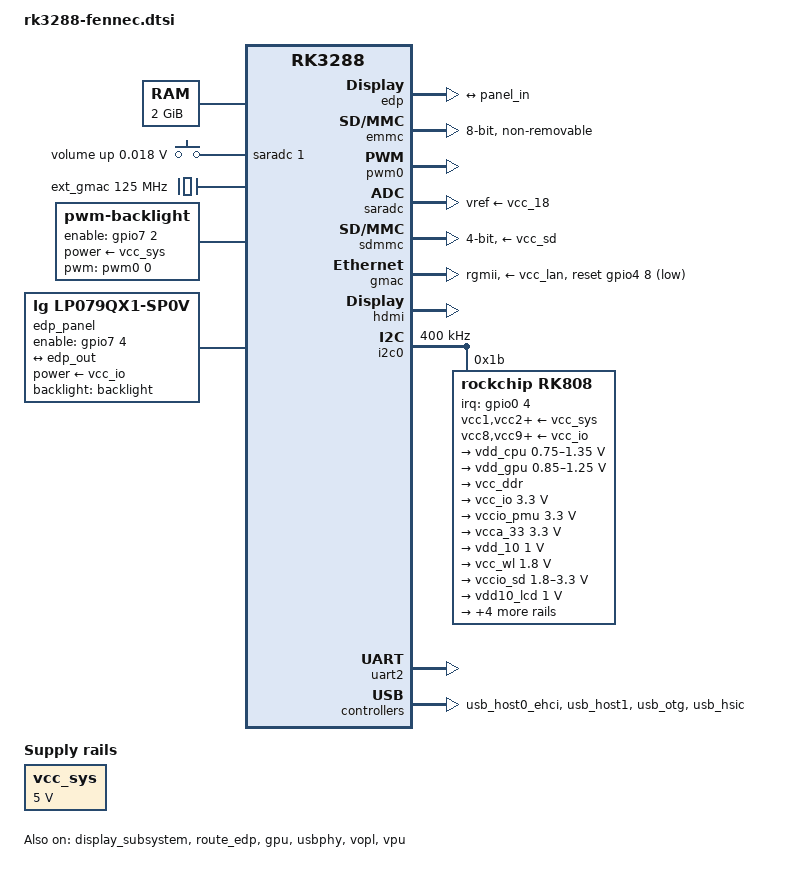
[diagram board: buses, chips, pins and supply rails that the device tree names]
/*
 * This file is dual-licensed: you can use it either under the terms
 * of the GPL or the X11 license, at your option. Note that this dual
 * licensing only applies to this file, and not this project as a
 * whole.
 *
 *  a) This file is free software; you can redistribute it and/or
 *     modify it under the terms of the GNU General Public License as
 *     published by the Free Software Foundation; either version 2 of the
 *     License, or (at your option) any later version.
 *
 *     This file is distributed in the hope that it will be useful,
 *     but WITHOUT ANY WARRANTY; without even the implied warranty of
 *     MERCHANTABILITY or FITNESS FOR A PARTICULAR PURPOSE.  See the
 *     GNU General Public License for more details.
 *
 * Or, alternatively,
 *
 *  b) Permission is hereby granted, free of charge, to any person
 *     obtaining a copy of this software and associated documentation
 *     files (the "Software"), to deal in the Software without
 *     restriction, including without limitation the rights to use,
 *     copy, modify, merge, publish, distribute, sublicense, and/or
 *     sell copies of the Software, and to permit persons to whom the
 *     Software is furnished to do so, subject to the following
 *     conditions:
 *
 *     The above copyright notice and this permission notice shall be
 *     included in all copies or substantial portions of the Software.
 *
 *     THE SOFTWARE IS PROVIDED "AS IS", WITHOUT WARRANTY OF ANY KIND,
 *     EXPRESS OR IMPLIED, INCLUDING BUT NOT LIMITED TO THE WARRANTIES
 *     OF MERCHANTABILITY, FITNESS FOR A PARTICULAR PURPOSE AND
 *     NONINFRINGEMENT. IN NO EVENT SHALL THE AUTHORS OR COPYRIGHT
 *     HOLDERS BE LIABLE FOR ANY CLAIM, DAMAGES OR OTHER LIABILITY,
 *     WHETHER IN AN ACTION OF CONTRACT, TORT OR OTHERWISE, ARISING
 *     FROM, OUT OF OR IN CONNECTION WITH THE SOFTWARE OR THE USE OR
 *     OTHER DEALINGS IN THE SOFTWARE.
 */

#include "rk3288.dtsi"
#include "rk3288-u-boot.dtsi"
#include <dt-bindings/input/input.h>

/ {
	memory {
		reg = <0x0 0x80000000>;
		device_type = "memory";
	};

	adc-keys {
		compatible = "adc-keys";
		io-channels = <&saradc 1>;

		volup-key {
			linux,code = <KEY_VOLUMEUP>;
			label = "volume up";
			press-threshold-microvolt = <18000>;
		};
	};

	ext_gmac: external-gmac-clock {
		compatible = "fixed-clock";
		#clock-cells = <0>;
		clock-frequency = <125000000>;
		clock-output-names = "ext_gmac";
	};

	vcc_sys: vsys-regulator {
		compatible = "regulator-fixed";
		regulator-name = "vcc_sys";
		regulator-min-microvolt = <5000000>;
		regulator-max-microvolt = <5000000>;
		regulator-always-on;
		regulator-boot-on;
	};

	backlight: backlight {
		compatible = "pwm-backlight";
		power-supply = <&vcc_sys>;
		enable-gpios = <&gpio7 2 GPIO_ACTIVE_HIGH>;
		brightness-levels = <
			  0   1   2   3   4   5   6   7
			  8   9  10  11  12  13  14  15
			 16  17  18  19  20  21  22  23
			 24  25  26  27  28  29  30  31
			 32  33  34  35  36  37  38  39
			 40  41  42  43  44  45  46  47
			 48  49  50  51  52  53  54  55
			 56  57  58  59  60  61  62  63
			 64  65  66  67  68  69  70  71
			 72  73  74  75  76  77  78  79
			 80  81  82  83  84  85  86  87
			 88  89  90  91  92  93  94  95
			 96  97  98  99 100 101 102 103
			104 105 106 107 108 109 110 111
			112 113 114 115 116 117 118 119
			120 121 122 123 124 125 126 127
			128 129 130 131 132 133 134 135
			136 137 138 139 140 141 142 143
			144 145 146 147 148 149 150 151
			152 153 154 155 156 157 158 159
			160 161 162 163 164 165 166 167
			168 169 170 171 172 173 174 175
			176 177 178 179 180 181 182 183
			184 185 186 187 188 189 190 191
			192 193 194 195 196 197 198 199
			200 201 202 203 204 205 206 207
			208 209 210 211 212 213 214 215
			216 217 218 219 220 221 222 223
			224 225 226 227 228 229 230 231
			232 233 234 235 236 237 238 239
			240 241 242 243 244 245 246 247
			248 249 250 251 252 253 254 255>;
		default-brightness-level = <50>;
		pwms = <&pwm0 0 25000 0>;
		pinctrl-names = "default";
		pinctrl-0 = <&pwm0_pin>;
		pwm-delay-us = <10000>;
		status = "okay";
	};

	edp_panel: edp-panel {
		compatible ="lg,lp079qx1-sp0v", "simple-panel";
		backlight = <&backlight>;
		power-supply = <&vcc_io>;
		enable-gpios = <&gpio7 4 GPIO_ACTIVE_HIGH>;
		prepare-delay-ms = <20>;
		enable-delay-ms = <20>;

		ports {
			panel_in: endpoint {
				remote-endpoint = <&edp_out>;
			};
		};
	};
};

&cpu0 {
	cpu0-supply = <&vdd_cpu>;
};

&display_subsystem {
	status = "okay";
};

&edp {
	status = "okay";

	ports {
		port@1 {
			reg = <1>;
			edp_out: endpoint {
				remote-endpoint = <&panel_in>;
			};
		};
	};
};

&emmc {
	bus-width = <8>;
	cap-mmc-highspeed;
	disable-wp;
	non-removable;
	num-slots = <1>;
	pinctrl-names = "default";
	pinctrl-0 = <&emmc_clk &emmc_cmd &emmc_pwr &emmc_bus8>;
	status = "okay";
};

&pwm0 {
	status = "okay";
};

&route_edp {
	status = "okay";
};

&saradc {
	vref-supply = <&vcc_18>;
	status = "okay";
};

&sdmmc {
	bus-width = <4>;
	cap-mmc-highspeed;
	cap-sd-highspeed;
	card-detect-delay = <200>;
	disable-wp;
	num-slots = <1>;
	pinctrl-names = "default";
	pinctrl-0 = <&sdmmc_clk &sdmmc_cmd &sdmmc_cd &sdmmc_bus4>;
	status = "okay";
	vmmc-supply = <&vcc_sd>;
	vqmmc-supply = <&vccio_sd>;
};

&gmac {
	assigned-clocks = <&cru SCLK_MAC>;
	assigned-clock-parents = <&ext_gmac>;
	clock_in_out = "input";
	pinctrl-names = "default";
	pinctrl-0 = <&rgmii_pins>, <&phy_rst>, <&phy_pmeb>, <&phy_int>;
	phy-supply = <&vcc_lan>;
	phy-mode = "rgmii";
	snps,reset-active-low;
	snps,reset-delays-us = <0 10000 1000000>;
	snps,reset-gpio = <&gpio4 8 GPIO_ACTIVE_LOW>;
	tx_delay = <0x30>;
	rx_delay = <0x10>;
	status = "okay";
};

&gpu {
	mali-supply = <&vdd_gpu>;
	status = "okay";
};

&hdmi {
	status = "okay";
};

&i2c0 {
	status = "okay";
	clock-frequency = <400000>;

	rk808: pmic@1b {
		compatible = "rockchip,rk808";
		reg = <0x1b>;
		interrupt-parent = <&gpio0>;
		interrupts = <4 IRQ_TYPE_LEVEL_LOW>;
		#clock-cells = <1>;
		clock-output-names = "xin32k", "rk808-clkout2";
		pinctrl-names = "default";
		pinctrl-0 = <&pmic_int &global_pwroff>;
		rockchip,system-power-controller;
		wakeup-source;

		vcc1-supply = <&vcc_sys>;
		vcc2-supply = <&vcc_sys>;
		vcc3-supply = <&vcc_sys>;
		vcc4-supply = <&vcc_sys>;
		vcc6-supply = <&vcc_sys>;
		vcc7-supply = <&vcc_sys>;
		vcc8-supply = <&vcc_io>;
		vcc9-supply = <&vcc_io>;
		vcc10-supply = <&vcc_io>;
		vcc11-supply = <&vcc_io>;
		vcc12-supply = <&vcc_io>;
		vddio-supply = <&vcc_io>;

		regulators {
			vdd_cpu: DCDC_REG1 {
				regulator-always-on;
				regulator-boot-on;
				regulator-min-microvolt = <750000>;
				regulator-max-microvolt = <1350000>;
				regulator-name = "vdd_arm";
				regulator-state-mem {
					regulator-off-in-suspend;
				};
			};

			vdd_gpu: DCDC_REG2 {
				regulator-always-on;
				regulator-boot-on;
				regulator-min-microvolt = <850000>;
				regulator-max-microvolt = <1250000>;
				regulator-name = "vdd_gpu";
				regulator-state-mem {
					regulator-on-in-suspend;
					regulator-suspend-microvolt = <1000000>;
				};
			};

			vcc_ddr: DCDC_REG3 {
				regulator-always-on;
				regulator-boot-on;
				regulator-name = "vcc_ddr";
				regulator-state-mem {
					regulator-on-in-suspend;
				};
			};

			vcc_io: DCDC_REG4 {
				regulator-always-on;
				regulator-boot-on;
				regulator-min-microvolt = <3300000>;
				regulator-max-microvolt = <3300000>;
				regulator-name = "vcc_io";
				regulator-state-mem {
					regulator-on-in-suspend;
					regulator-suspend-microvolt = <3300000>;
				};
			};

			vccio_pmu: LDO_REG1 {
				regulator-always-on;
				regulator-boot-on;
				regulator-min-microvolt = <3300000>;
				regulator-max-microvolt = <3300000>;
				regulator-name = "vccio_pmu";
				regulator-state-mem {
					regulator-on-in-suspend;
					regulator-suspend-microvolt = <3300000>;
				};
			};

			vcca_33: LDO_REG2 {
				regulator-always-on;
				regulator-boot-on;
				regulator-min-microvolt = <3300000>;
				regulator-max-microvolt = <3300000>;
				regulator-name = "vcca_33";
				regulator-state-mem {
					regulator-off-in-suspend;
				};
			};

			vdd_10: LDO_REG3 {
				regulator-always-on;
				regulator-boot-on;
				regulator-min-microvolt = <1000000>;
				regulator-max-microvolt = <1000000>;
				regulator-name = "vdd_10";
				regulator-state-mem {
					regulator-on-in-suspend;
					regulator-suspend-microvolt = <1000000>;
				};
			};

			vcc_wl: LDO_REG4 {
				regulator-always-on;
				regulator-boot-on;
				regulator-min-microvolt = <1800000>;
				regulator-max-microvolt = <1800000>;
				regulator-name = "vcc_wl";
				regulator-state-mem {
					regulator-on-in-suspend;
					regulator-suspend-microvolt = <1800000>;
				};
			};

			vccio_sd: LDO_REG5 {
				regulator-always-on;
				regulator-boot-on;
				regulator-min-microvolt = <1800000>;
				regulator-max-microvolt = <3300000>;
				regulator-name = "vccio_sd";
				regulator-state-mem {
					regulator-on-in-suspend;
					regulator-suspend-microvolt = <3300000>;
				};
			};

			vdd10_lcd: LDO_REG6 {
				regulator-always-on;
				regulator-boot-on;
				regulator-min-microvolt = <1000000>;
				regulator-max-microvolt = <1000000>;
				regulator-name = "vdd10_lcd";
				regulator-state-mem {
					regulator-on-in-suspend;
					regulator-suspend-microvolt = <1000000>;
				};
			};

			vcc_18: LDO_REG7 {
				regulator-always-on;
				regulator-boot-on;
				regulator-min-microvolt = <1800000>;
				regulator-max-microvolt = <1800000>;
				regulator-name = "vcc_18";
				regulator-state-mem {
					regulator-on-in-suspend;
					regulator-suspend-microvolt = <1800000>;
				};
			};

			vcc18_lcd: LDO_REG8 {
				regulator-always-on;
				regulator-boot-on;
				regulator-min-microvolt = <1800000>;
				regulator-max-microvolt = <1800000>;
				regulator-name = "vcc18_lcd";
				regulator-state-mem {
					regulator-on-in-suspend;
					regulator-suspend-microvolt = <1800000>;
				};
			};

			vcc_sd: SWITCH_REG1 {
				regulator-always-on;
				regulator-boot-on;
				regulator-name = "vcc_sd";
				regulator-state-mem {
					regulator-on-in-suspend;
				};
			};

			vcc_lan: SWITCH_REG2 {
				regulator-always-on;
				regulator-boot-on;
				regulator-name = "vcc_lan";
				regulator-state-mem {
					regulator-on-in-suspend;
				};
			};
		};
	};
};

&pinctrl {
	pcfg_output_high: pcfg-output-high {
		output-high;
	};

	pcfg_output_low: pcfg-output-low {
		output-low;
	};

	pcfg_pull_none_drv_8ma: pcfg-pull-none-drv-8ma {
		drive-strength = <8>;
	};

	pcfg_pull_up_drv_8ma: pcfg-pull-up-drv-8ma {
		bias-pull-up;
		drive-strength = <8>;
	};

	gmac {
		phy_int: phy-int {
			rockchip,pins = <0 9 RK_FUNC_GPIO &pcfg_pull_up>;
		};

		phy_pmeb: phy-pmeb {
			rockchip,pins = <0 8 RK_FUNC_GPIO &pcfg_pull_up>;
		};

		phy_rst: phy-rst {
			rockchip,pins = <4 8 RK_FUNC_GPIO &pcfg_output_high>;
		};
	};

	pmic {
		pmic_int: pmic-int {
			rockchip,pins = <RK_GPIO0 4 RK_FUNC_GPIO &pcfg_pull_up>;
		};
	};

	sdmmc {
		sdmmc_bus4: sdmmc-bus4 {
			rockchip,pins = <6 16 RK_FUNC_1 &pcfg_pull_up_drv_8ma>,
					<6 17 RK_FUNC_1 &pcfg_pull_up_drv_8ma>,
					<6 18 RK_FUNC_1 &pcfg_pull_up_drv_8ma>,
					<6 19 RK_FUNC_1 &pcfg_pull_up_drv_8ma>;
		};

		sdmmc_clk: sdmmc-clk {
			rockchip,pins = <6 20 RK_FUNC_1 &pcfg_pull_none_drv_8ma>;
		};

		sdmmc_cmd: sdmmc-cmd {
			rockchip,pins = <6 21 RK_FUNC_1 &pcfg_pull_up_drv_8ma>;
		};

		sdmmc_pwr: sdmmc-pwr {
			rockchip,pins = <7 11 RK_FUNC_GPIO &pcfg_pull_none>;
		};
	};

	usbphy {
		host_drv: host-drv {
			rockchip,pins = <0 14 RK_FUNC_GPIO &pcfg_pull_none>;
		};
	};
};

&uart2 {
	status = "okay";
};

&usbphy {
	pinctrl-names = "default";
	pinctrl-0 = <&host_drv>;
	vbus_drv-gpios = <&gpio0 14 GPIO_ACTIVE_HIGH>;
	status = "okay";
};

&usb_host0_ehci {
	status = "okay";
};

&usb_host1 {
	status = "okay";
};

&usb_otg {
	status = "okay";
};

&usb_hsic {
	status = "okay";
};

&vopl {
	status = "okay";
};

&vpu {
	status = "okay";
};
